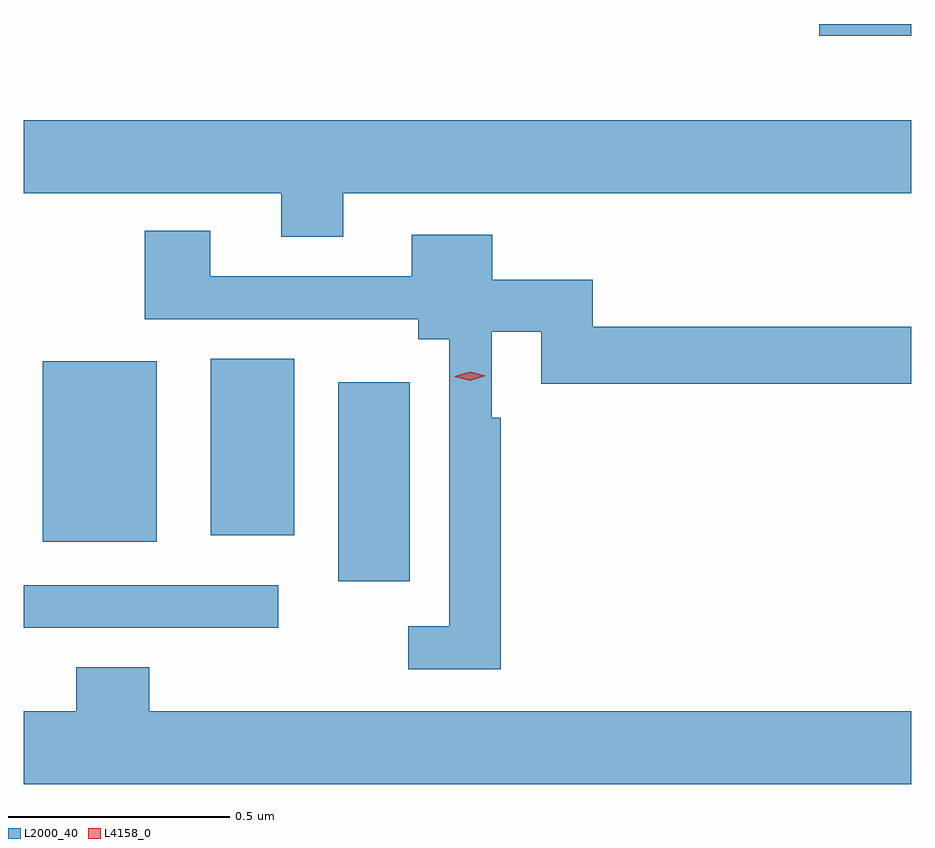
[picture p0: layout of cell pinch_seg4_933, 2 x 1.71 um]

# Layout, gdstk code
import gdstk
lib = gdstk.Library(unit=1e-6, precision=1e-09)
def R(c, l, rs):  # rectangles x0, y0, x1, y1
    for r in rs: c.add(gdstk.rectangle(r[:2], r[2:], *l))
def P(c, l, *ps):  # polygons
    for p in ps: c.add(gdstk.Polygon(p, *l))
L2000_40 = (2000, 40)
L4158_0 = (4158, 0)

pinch_seg4_933 = lib.new_cell('pinch_seg4_933')
R(pinch_seg4_933, L2000_40, [(671.701,830.472,672.274,830.568), (672.41,830.577,672.571,831.025), (671.744,830.666,672.001,831.073), (672.122,830.681,672.31,831.079), (673.494,831.806,673.701,831.833)])
P(pinch_seg4_933, L2000_40, [(672.421,831.452),(673.701,831.452),(673.701,831.616),(671.701,831.616),(671.701,831.452),(672.281,831.452),(672.281,831.353),(672.421,831.353)],
  [(672.776,830.945),(672.756,830.945),(672.756,831.139),(672.867,831.139),(672.867,831.022),(673.701,831.022),(673.701,831.151),(672.983,831.151),(672.983,831.257),(672.757,831.257),(672.757,831.358),(672.575,831.358),(672.575,831.264),(672.121,831.264),(672.121,831.367),(671.974,831.367),(671.974,831.168),(672.59,831.168),(672.59,831.122),(672.66,831.122),(672.66,830.475),(672.567,830.475),(672.567,830.379),(672.776,830.379)],
  [(673.701,830.284),(671.984,830.284),(671.984,830.383),(671.819,830.383),(671.819,830.284),(671.701,830.284),(671.701,830.12),(673.701,830.12)])
P(pinch_seg4_933, L4158_0, [(672.707,831.029),(672.672,831.038),(672.672,831.038),(672.672,831.039),(672.707,831.049),(672.742,831.04),(672.742,831.04),(672.742,831.04)])

lib.write_gds('pinch_seg4_933.gds')
